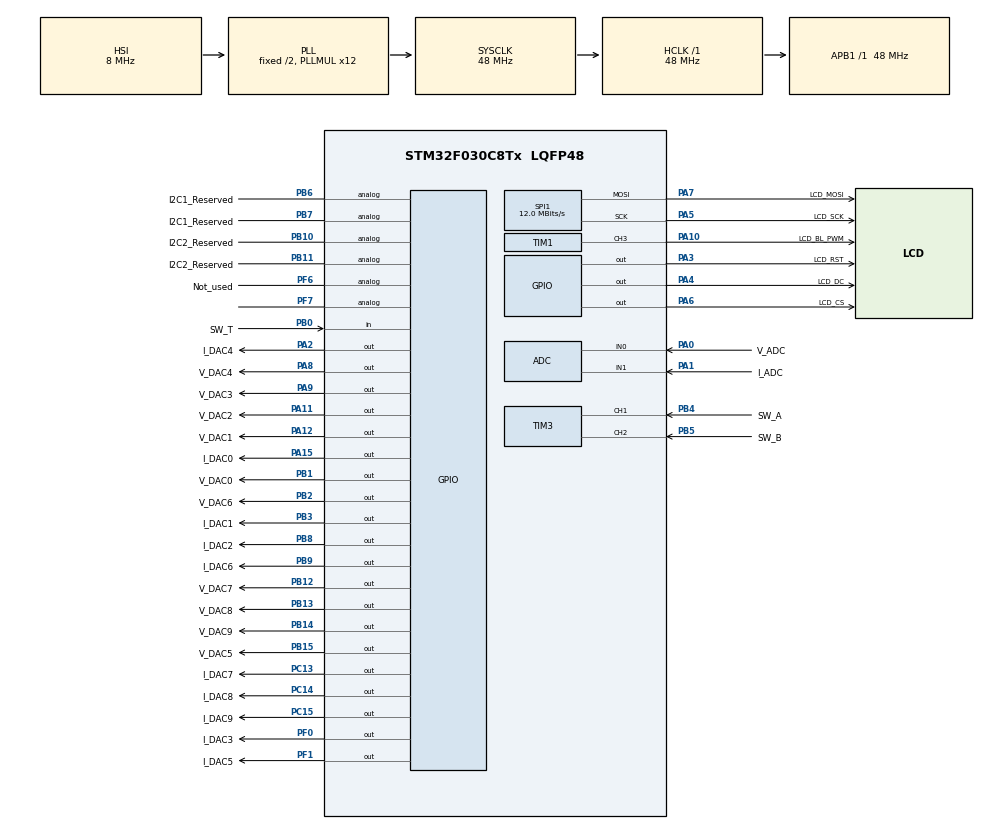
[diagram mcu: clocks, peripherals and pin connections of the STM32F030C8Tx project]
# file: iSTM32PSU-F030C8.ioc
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ADC.ClockPrescaler=ADC_CLOCK_SYNC_PCLK_DIV4
ADC.ContinuousConvMode=ENABLE
ADC.DMAContinuousRequests=ENABLE
ADC.EOCSelection=ADC_EOC_SEQ_CONV
ADC.Overrun=ADC_OVR_DATA_OVERWRITTEN
ADC.SamplingTime=ADC_SAMPLETIME_239CYCLES_5
Dma.ADC.0.Direction=DMA_PERIPH_TO_MEMORY
Dma.ADC.0.Instance=DMA1_Channel1
Dma.ADC.0.MemDataAlignment=DMA_MDATAALIGN_HALFWORD
Dma.ADC.0.MemInc=DMA_MINC_ENABLE
Dma.ADC.0.Mode=DMA_CIRCULAR
Dma.ADC.0.PeriphDataAlignment=DMA_PDATAALIGN_HALFWORD
Dma.ADC.0.PeriphInc=DMA_PINC_DISABLE
Dma.ADC.0.Priority=DMA_PRIORITY_LOW
Dma.Request0=ADC
Dma.Request1=SPI1_TX
Dma.SPI1_TX.1.Direction=DMA_MEMORY_TO_PERIPH
Dma.SPI1_TX.1.Instance=DMA1_Channel3
Dma.SPI1_TX.1.MemDataAlignment=DMA_MDATAALIGN_BYTE
Dma.SPI1_TX.1.MemInc=DMA_MINC_ENABLE
Dma.SPI1_TX.1.Mode=DMA_NORMAL
Dma.SPI1_TX.1.PeriphDataAlignment=DMA_PDATAALIGN_BYTE
Dma.SPI1_TX.1.PeriphInc=DMA_PINC_DISABLE
Dma.SPI1_TX.1.Priority=DMA_PRIORITY_LOW
Mcu.Family=STM32F0
Mcu.Name=STM32F030C8Tx
Mcu.Package=LQFP48
NVIC.ADC1_IRQn=true\:0\:0\:false\:false\:true\:true\:true\:true
NVIC.DMA1_Channel1_IRQn=true\:0\:0\:false\:false\:true\:false\:true\:true
NVIC.DMA1_Channel2_3_IRQn=true\:0\:0\:false\:false\:true\:false\:true\:true
NVIC.TIM6_IRQn=true\:0\:0\:false\:false\:true\:true\:true\:true
PA0.GPIO_Label=V_ADC
PA0.Mode=IN0
PA0.Signal=ADC_IN0
PA1.GPIO_Label=I_ADC
PA1.Mode=IN1
PA1.Signal=ADC_IN1
PA10.GPIO_Label=LCD_BL_PWM
PA10.Signal=S_TIM1_CH3
PA11.GPIO_Label=V_DAC2
PA11.Signal=GPIO_Output
PA12.GPIO_Label=V_DAC1
PA12.Signal=GPIO_Output
PA13.Mode=Serial_Wire
PA13.Signal=SYS_SWDIO
PA14.Mode=Serial_Wire
PA14.Signal=SYS_SWCLK
PA15.GPIO_Label=I_DAC0
PA15.Signal=GPIO_Output
PA2.GPIO_Label=I_DAC4
PA2.Signal=GPIO_Output
PA3.GPIO_Label=LCD_RST
PA3.Signal=GPIO_Output
PA4.GPIO_Label=LCD_DC
PA4.Signal=GPIO_Output
PA5.GPIO_Label=LCD_SCK
PA5.Mode=TX_Only_Simplex_Unidirect_Master
PA5.Signal=SPI1_SCK
PA6.GPIO_Label=LCD_CS
PA6.Signal=GPIO_Output
PA7.GPIO_Label=LCD_MOSI
PA7.Mode=TX_Only_Simplex_Unidirect_Master
PA7.Signal=SPI1_MOSI
PA8.GPIO_Label=V_DAC4
PA8.Signal=GPIO_Output
PA9.GPIO_Label=V_DAC3
PA9.Signal=GPIO_Output
PB0.GPIO_Label=SW_T
PB0.GPIO_PuPd=GPIO_PULLUP
PB0.Signal=GPIO_Input
PB1.GPIO_Label=V_DAC0
PB1.Signal=GPIO_Output
PB10.GPIO_Label=I2C2_Reserved
PB10.Signal=GPIO_Analog
PB11.GPIO_Label=I2C2_Reserved
PB11.Signal=GPIO_Analog
PB12.GPIO_Label=V_DAC7
PB12.Signal=GPIO_Output
PB13.GPIO_Label=V_DAC8
PB13.Signal=GPIO_Output
PB14.GPIO_Label=V_DAC9
PB14.Signal=GPIO_Output
PB15.GPIO_Label=V_DAC5
PB15.Signal=GPIO_Output
PB2.GPIO_Label=V_DAC6
PB2.Signal=GPIO_Output
PB3.GPIO_Label=I_DAC1
PB3.Signal=GPIO_Output
PB4.GPIO_Label=SW_A
PB4.GPIO_PuPd=GPIO_PULLUP
PB4.Signal=S_TIM3_CH1
PB5.GPIO_Label=SW_B
PB5.GPIO_PuPd=GPIO_PULLUP
PB5.Signal=S_TIM3_CH2
PB6.GPIO_Label=I2C1_Reserved
PB6.Signal=GPIO_Analog
PB7.GPIO_Label=I2C1_Reserved
PB7.Signal=GPIO_Analog
PB8.GPIO_Label=I_DAC2
PB8.Signal=GPIO_Output
PB9.GPIO_Label=I_DAC6
PB9.Signal=GPIO_Output
PC13.GPIO_Label=I_DAC7
PC13.Signal=GPIO_Output
PC14-OSC32_IN.GPIO_Label=I_DAC8
PC14-OSC32_IN.Signal=GPIO_Output
PC15-OSC32_OUT.GPIO_Label=I_DAC9
PC15-OSC32_OUT.Signal=GPIO_Output
PF0-OSC_IN.GPIO_Label=I_DAC3
PF0-OSC_IN.Signal=GPIO_Output
PF1-OSC_OUT.GPIO_Label=I_DAC5
PF1-OSC_OUT.Signal=GPIO_Output
PF6.GPIO_Label=Not_used
PF6.Signal=GPIO_Analog
PF7.Signal=GPIO_Analog
ProjectManager.HeapSize=0x200
ProjectManager.StackSize=0x400
ProjectManager.TargetToolchain=STM32CubeIDE
RCC.AHBFreq_Value=48000000
RCC.APB1Freq_Value=48000000
RCC.APB1TimFreq_Value=48000000
RCC.HCLKFreq_Value=48000000
RCC.PLLMUL=RCC_PLL_MUL12
RCC.SYSCLKFreq_VALUE=48000000
RCC.SYSCLKSource=RCC_SYSCLKSOURCE_PLLCLK
SH.S_TIM1_CH3.0=TIM1_CH3,PWM Generation3 CH3
SH.S_TIM3_CH1.0=TIM3_CH1,Encoder_Interface
SH.S_TIM3_CH2.0=TIM3_CH2,Encoder_Interface
SPI1.BaudRatePrescaler=SPI_BAUDRATEPRESCALER_4
SPI1.CalculateBaudRate=12.0 MBits/s
SPI1.DataSize=SPI_DATASIZE_8BIT
SPI1.Direction=SPI_DIRECTION_2LINES
SPI1.Mode=SPI_MODE_MASTER
SPI1.VirtualType=VM_MASTER
TIM1.Channel-PWM\ Generation3\ CH3=TIM_CHANNEL_3
TIM1.OCPolarity_3=TIM_OCPOLARITY_LOW
TIM1.Period=200
TIM1.Prescaler=24
TIM3.ClockDivision=TIM_CLOCKDIVISION_DIV1
TIM3.EncoderMode=TIM_ENCODERMODE_TI12
TIM3.IC1Filter=15
TIM3.IC1Polarity=TIM_ICPOLARITY_FALLING
TIM3.IC1Prescaler=TIM_ICPSC_DIV1
TIM3.IC2Filter=15
TIM3.IC2Polarity=TIM_ICPOLARITY_FALLING
TIM3.IC2Prescaler=TIM_ICPSC_DIV1
TIM6.Period=100
TIM6.Prescaler=47999
VP_ADC_TempSens_Input.Mode=IN-TempSens
VP_RTC_VS_RTC_Activate.Mode=RTC_Enabled
VP_RTC_VS_RTC_Calendar.Mode=RTC_Calendar
VP_TIM6_VS_ClockSourceINT.Mode=Enable_Timer
board=custom

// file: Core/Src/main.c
/* USER CODE BEGIN Header */
/**
  ******************************************************************************
  * @file           : main.c
  * @brief          : Main program body
  ******************************************************************************
  * @attention
  *
  * Copyright (c) 2022 STMicroelectronics.
  * All rights reserved.
  *
  * This software is licensed under terms that can be found in the LICENSE file
  * in the root directory of this software component.
  * If no LICENSE file comes with this software, it is provided AS-IS.
  *
  ******************************************************************************
  */
/* USER CODE END Header */
#include "main.h"

/* USER CODE BEGIN Includes */
#include "st7735.h"
#include "psu.h"
/* USER CODE END Includes */

/* USER CODE BEGIN PTD */
enum EncStates {NO_TRN, INC_TRN_SLOW, INC_TRN_NORM,INC_TRN_FAST,
						DEC_TRN_SLOW, DEC_TRN_NORM,DEC_TRN_FAST};
enum BtnStates {NO_PRESS, FIRST_EDGE, PRESS_NORM, PRESS_LONG};
enum MenuSelected {ON_OFF,MODE, MEM, BL, U, I};
enum dsMenuSelected {U_DISP,I_DISP, U_SETP, I_SETP, EXIT, SAVE_EXIT};
/* USER CODE END PTD */

/* USER CODE BEGIN PD */
#define TRN_SLOW_NORM  4   //4
#define TRN_NORM_FAST  10 //10
#define NORM_PRESS_TIME  1 // *100 in mS
#define LONG_PRESS_TIME  5 // *100 in mS
#define SCALE_U_MIN 8.0
#define SCALE_U_MAX 11.0
#define SCALE_I_MIN 0.5
#define SCALE_I_MAX 2.0
#define SCALE_U_SP_MIN 27.0
#define SCALE_U_SP_MAX 38.0
#define SCALE_I_SP_MIN 205.0
#define SCALE_I_SP_MAX 230.0
/* USER CODE END PD */

ADC_HandleTypeDef hadc;
DMA_HandleTypeDef hdma_adc;

RTC_HandleTypeDef hrtc;

SPI_HandleTypeDef hspi1;
DMA_HandleTypeDef hdma_spi1_tx;

TIM_HandleTypeDef htim1;
TIM_HandleTypeDef htim3;
TIM_HandleTypeDef htim6;

/* USER CODE BEGIN PV */
volatile uint16_t adc_RAW[3]; //0-ADC-V,1-ADC-I,2-Temp.ADC
float vdd = 3.302; //On board regulated voltage
float scaleU=9.46 , scaleI=1.43; // scaling constants for U,I~9,1/1,48
float scaleUsp=33.40, scaleIsp=218.00; //scaling const. for set points
float constU, constI; // pre-calculated constant to speed up U&I calculation
float outU, outI, temp_MCU;
char float_for_LCD[CHAR_BUFF_SIZE+1]; // +1 is used for "stop string" generation
enum EncStates enc = NO_TRN;
enum BtnStates btn = NO_PRESS;
enum MenuSelected mnu_sel = BL;
enum dsMenuSelected ds_mnu_sel = U_DISP;
int16_t enc_cnt = 0;
uint8_t btn_cnt = 0;
char* ptr; // Point to converted to char floats for LCD displaying
bool on_off = false; // disable/enable power at output 0/1
bool mod_sel_CI = false; // device is in constant voltage/constant current mode 0/1
int8_t mem_sel = 0; // selected memory set from 0 to 9
int16_t lcd_pwm_bl = 200; //max value
float uSP = 5.0; // set point for output voltage
float iSP = 1.0; // set point for output current
char onTd100 = '0', onTd10 = '0', onTd1 = '0',
	 onTh10 = '0', onTh1 = '0', onTm10 = '0', onTm1 = '0',
	 onTs10 = '0', onTs1 = '0';// On time
uint16_t uint_spU=0, uint_spI=0; // values sent to DACs
/* USER CODE END PV */

void SystemClock_Config(void);
static void MX_GPIO_Init(void);
static void MX_DMA_Init(void);
static void MX_SPI1_Init(void);
static void MX_TIM1_Init(void);
static void MX_ADC_Init(void);
static void MX_TIM3_Init(void);
static void MX_TIM6_Init(void);
static void MX_RTC_Init(void);
/* USER CODE BEGIN PFP */
void menu_handler(void);
void device_settings(void);
/* USER CODE END PFP */

int main(void)
{

  /* MCU Configuration--------------------------------------------------------*/

  /* Reset of all peripherals, Initializes the Flash interface and the Systick. */
  HAL_Init();

  /* Configure the system clock */
  SystemClock_Config();

  /* Initialize all configured peripherals */
  MX_GPIO_Init();
  MX_DMA_Init();
  MX_SPI1_Init();
  MX_TIM1_Init();
  MX_ADC_Init();
  MX_TIM3_Init();
  MX_TIM6_Init();
  MX_RTC_Init();
  /* USER CODE BEGIN 2 */
  /* Perform ADC calibration */
  if (HAL_ADCEx_Calibration_Start(&hadc) != HAL_OK)
	  	  	  	  	  	  	  	  	  	  	  	  	  Error_Handler();

  /* Start ADC group regular conversion by DMA*/
  if (HAL_ADC_Start_DMA(&hadc,(uint32_t *)adc_RAW,3) != HAL_OK)
	  	  	  	  	  	  	  	  	  	  	  	  	  Error_Handler();

  /* Start TIM3 as encoder counter */
  if (HAL_TIM_Encoder_Start(&htim3, TIM_CHANNEL_ALL) != HAL_OK)
	  	  	  	  	  	  	  	  	  	  	  	  	  Error_Handler();

  /*Run TIM6 to do 100uS interrupts for button and encoder services */
  if (HAL_TIM_Base_Start_IT(&htim6) != HAL_OK)		  Error_Handler();

  /*Start TIM1 to generate PWM output for LCD Back Light */
  if (HAL_TIM_PWM_Start(&htim1, TIM_CHANNEL_3) != HAL_OK)
	  	  	  	  	  	  	  	  	  	  	  Error_Handler();

  /* Start Back Light at max Level=200 */
  __HAL_TIM_SetCompare(&htim1, TIM_CHANNEL_3, lcd_pwm_bl);

//  LCD_Init( lcd_ScanDir ); // LCD initialization
  ST7735_Init();
  ST7735_SetRotation(1);
  if(!HAL_GPIO_ReadPin(SW_T_GPIO_Port,SW_T_Pin)) device_settings();//setup screen
  btn = PRESS_NORM;// to activate V menu on start
  draw_main_st(BLACK, WHITE); // Main static screen
  if(*( uint32_t *)(SCALE_U_ADDR) != 0xFFFFFFFF)
	  scaleU=*( float *)(SCALE_U_ADDR); // load user set scale constant
  if(*( uint32_t *)(SCALE_I_ADDR) != 0xFFFFFFFF)
	  scaleI=*( float *)(SCALE_I_ADDR); // load user set scale constant
  if(*( uint32_t *)(SCALE_U_SP_ADDR) != 0xFFFFFFFF)
	  scaleUsp=*( float *)(SCALE_U_SP_ADDR); // load user set scale constant
  if(*( uint32_t *)(SCALE_I_SP_ADDR) != 0xFFFFFFFF)
	  scaleIsp=*( float *)(SCALE_I_SP_ADDR); // load user set scale constant
  if(*( uint32_t *)(MEM_SEL_ARR_ADDR) != 0xFFFFFFFF)
	  uSP=*( float *)(MEM_SEL_ARR_ADDR); // load user set for U@M0
  if(*( uint32_t *)(MEM_SEL_ARR_ADDR+4) != 0xFFFFFFFF)
	  iSP=*( float *)(MEM_SEL_ARR_ADDR+4); // load user set for I@M0
  /*BEGIN: Draw on LCD set points taken from FLASH Memory if they are valid */

	ptr = float_to_char(uSP, float_for_LCD);
	if(uSP<1)
	{
		ST7735_DrawString(5,84," 0",Font_11x18,WHITE,BLACK);
		ST7735_DrawString(27,84,ptr,Font_11x18,WHITE,BLACK);
	}
	else
	{
		if(uSP<10)
		{
			ST7735_DrawString(5,84," ",Font_11x18,WHITE,BLACK);
			ST7735_DrawString(16,84,ptr,Font_11x18,WHITE,BLACK);
		}
		else ST7735_DrawString(5,84,ptr,Font_11x18,WHITE,BLACK);
	}
	ST7735_DrawString( 60,84,"0V",Font_11x18,WHITE,BLACK);

	ptr = float_to_char(iSP, float_for_LCD);
	if(iSP<1)
	{
		ST7735_DrawString(89,84,"0",Font_11x18,WHITE,BLACK);
		ST7735_DrawString(100,84,ptr,Font_11x18,WHITE,BLACK);
	}
	else ST7735_DrawString(89,84,ptr,Font_11x18,WHITE,BLACK);
	ST7735_DrawString(144,84,"A",Font_11x18,WHITE,BLACK);
  /*END: Draw on LCD set points taken from FLASH Memory if they are valid */
  constU = (vdd*scaleU)/4095; //calculated only once to avoid...
  constI = (vdd*scaleI)/4095; //....circular repeated calculation
  /* USER CODE END 2 */

  /* Infinite loop */
  /* USER CODE BEGIN WHILE */
  while (1)
  {
	  get_adcs(adc_RAW, &temp_MCU, &outU, &outI, constU, constI, vdd);
	  if((enc != NO_TRN)||(btn != NO_PRESS)) menu_handler();
 	  get_time(hrtc, &onTd100, &onTd10, &onTd1 , &onTh10, &onTh1, &onTm10, &onTm1,
 			  &onTs10, &onTs1, on_off);
 	  draw_main_dy(ptr, float_for_LCD, on_off, outU, outI, onTd100, onTd10, onTd1, onTh10,
			  onTh1, onTm10, onTm1, onTs10, onTs1, temp_MCU);
 	  if(temp_MCU < 85.0) //no over heating
	  {
 		  uint_spI = (uint16_t)(scaleIsp   * iSP);
 		  i_DAC10_Set(uint_spI);
 		  if(on_off) // output is POWERED
 		  {
 			uint_spU = (uint16_t)(scaleUsp * uSP);
 			v_DAC10_Set(uint_spU);

 		  }
 		  else // output is UNPOWERED
 		  {
 			 v_DAC10_Set(0);
 		  }
	  }
 	  else //over heating, output UNPOWERED
 	  {
 		  v_DAC10_Set(0);
 		  i_DAC10_Set(0);
 		  on_off = false;
 	  }
    /* USER CODE END WHILE */

  }
}

void SystemClock_Config(void)
{
  RCC_OscInitTypeDef RCC_OscInitStruct = {0};
  RCC_ClkInitTypeDef RCC_ClkInitStruct = {0};
  RCC_PeriphCLKInitTypeDef PeriphClkInit = {0};

  /** Initializes the RCC Oscillators according to the specified parameters
  * in the RCC_OscInitTypeDef structure.
  */
  RCC_OscInitStruct.OscillatorType = RCC_OSCILLATORTYPE_HSI|RCC_OSCILLATORTYPE_LSI;
  RCC_OscInitStruct.HSIState = RCC_HSI_ON;
  RCC_OscInitStruct.HSICalibrationValue = RCC_HSICALIBRATION_DEFAULT;
  RCC_OscInitStruct.LSIState = RCC_LSI_ON;
  RCC_OscInitStruct.PLL.PLLState = RCC_PLL_ON;
  RCC_OscInitStruct.PLL.PLLSource = RCC_PLLSOURCE_HSI;
  RCC_OscInitStruct.PLL.PLLMUL = RCC_PLL_MUL12;
  RCC_OscInitStruct.PLL.PREDIV = RCC_PREDIV_DIV1;
  if (HAL_RCC_OscConfig(&RCC_OscInitStruct) != HAL_OK)
  {
    Error_Handler();
  }

  /** Initializes the CPU, AHB and APB buses clocks
  */
  RCC_ClkInitStruct.ClockType = RCC_CLOCKTYPE_HCLK|RCC_CLOCKTYPE_SYSCLK
                              |RCC_CLOCKTYPE_PCLK1;
  RCC_ClkInitStruct.SYSCLKSource = RCC_SYSCLKSOURCE_PLLCLK;
  RCC_ClkInitStruct.AHBCLKDivider = RCC_SYSCLK_DIV1;
  RCC_ClkInitStruct.APB1CLKDivider = RCC_HCLK_DIV1;

  if (HAL_RCC_ClockConfig(&RCC_ClkInitStruct, FLASH_LATENCY_1) != HAL_OK)
  {
    Error_Handler();
  }
  PeriphClkInit.PeriphClockSelection = RCC_PERIPHCLK_RTC;
  PeriphClkInit.RTCClockSelection = RCC_RTCCLKSOURCE_LSI;
  if (HAL_RCCEx_PeriphCLKConfig(&PeriphClkInit) != HAL_OK)
  {
    Error_Handler();
  }
}

static void MX_ADC_Init(void)
{

  ADC_ChannelConfTypeDef sConfig = {0};

  /** Configure the global features of the ADC (Clock, Resolution, Data Alignment and number of conversion)
  */
  hadc.Instance = ADC1;
  hadc.Init.ClockPrescaler = ADC_CLOCK_SYNC_PCLK_DIV4;
  hadc.Init.Resolution = ADC_RESOLUTION_12B;
  hadc.Init.DataAlign = ADC_DATAALIGN_RIGHT;
  hadc.Init.ScanConvMode = ADC_SCAN_DIRECTION_FORWARD;
  hadc.Init.EOCSelection = ADC_EOC_SEQ_CONV;
  hadc.Init.LowPowerAutoWait = DISABLE;
  hadc.Init.LowPowerAutoPowerOff = DISABLE;
  hadc.Init.ContinuousConvMode = ENABLE;
  hadc.Init.DiscontinuousConvMode = DISABLE;
  hadc.Init.ExternalTrigConv = ADC_SOFTWARE_START;
  hadc.Init.ExternalTrigConvEdge = ADC_EXTERNALTRIGCONVEDGE_NONE;
  hadc.Init.DMAContinuousRequests = ENABLE;
  hadc.Init.Overrun = ADC_OVR_DATA_OVERWRITTEN;
  if (HAL_ADC_Init(&hadc) != HAL_OK)
  {
    Error_Handler();
  }

  /** Configure for the selected ADC regular channel to be converted.
  */
  sConfig.Channel = ADC_CHANNEL_0;
  sConfig.Rank = ADC_RANK_CHANNEL_NUMBER;
  sConfig.SamplingTime = ADC_SAMPLETIME_239CYCLES_5;
  if (HAL_ADC_ConfigChannel(&hadc, &sConfig) != HAL_OK)
  {
    Error_Handler();
  }

  /** Configure for the selected ADC regular channel to be converted.
  */
  sConfig.Channel = ADC_CHANNEL_1;
  if (HAL_ADC_ConfigChannel(&hadc, &sConfig) != HAL_OK)
  {
    Error_Handler();
  }

  /** Configure for the selected ADC regular channel to be converted.
  */
  sConfig.Channel = ADC_CHANNEL_TEMPSENSOR;
  if (HAL_ADC_ConfigChannel(&hadc, &sConfig) != HAL_OK)
  {
    Error_Handler();
  }

}

static void MX_RTC_Init(void)
{

  RTC_TimeTypeDef sTime = {0};
  RTC_DateTypeDef sDate = {0};

  /** Initialize RTC Only
  */
  hrtc.Instance = RTC;
  hrtc.Init.HourFormat = RTC_HOURFORMAT_24;
  hrtc.Init.AsynchPrediv = 127;
  hrtc.Init.SynchPrediv = 255;
  hrtc.Init.OutPut = RTC_OUTPUT_DISABLE;
  hrtc.Init.OutPutPolarity = RTC_OUTPUT_POLARITY_HIGH;
  hrtc.Init.OutPutType = RTC_OUTPUT_TYPE_OPENDRAIN;
  if (HAL_RTC_Init(&hrtc) != HAL_OK)
  {
    Error_Handler();
  }

  /** Initialize RTC and set the Time and Date
  */
  sTime.Hours = 0x0;
  sTime.Minutes = 0x0;
  sTime.Seconds = 0x0;
  sTime.DayLightSaving = RTC_DAYLIGHTSAVING_NONE;
  sTime.StoreOperation = RTC_STOREOPERATION_RESET;
  if (HAL_RTC_SetTime(&hrtc, &sTime, RTC_FORMAT_BCD) != HAL_OK)
  {
    Error_Handler();
  }
  sDate.WeekDay = RTC_WEEKDAY_MONDAY;
  sDate.Month = RTC_MONTH_JANUARY;
  sDate.Date = 0x1;
  sDate.Year = 0x0;

  if (HAL_RTC_SetDate(&hrtc, &sDate, RTC_FORMAT_BCD) != HAL_OK)
  {
    Error_Handler();
  }

}

static void MX_SPI1_Init(void)
{

  /* SPI1 parameter configuration*/
  hspi1.Instance = SPI1;
  hspi1.Init.Mode = SPI_MODE_MASTER;
  hspi1.Init.Direction = SPI_DIRECTION_2LINES;
  hspi1.Init.DataSize = SPI_DATASIZE_8BIT;
  hspi1.Init.CLKPolarity = SPI_POLARITY_LOW;
  hspi1.Init.CLKPhase = SPI_PHASE_1EDGE;
  hspi1.Init.NSS = SPI_NSS_SOFT;
  hspi1.Init.BaudRatePrescaler = SPI_BAUDRATEPRESCALER_4;
  hspi1.Init.FirstBit = SPI_FIRSTBIT_MSB;
  hspi1.Init.TIMode = SPI_TIMODE_DISABLE;
  hspi1.Init.CRCCalculation = SPI_CRCCALCULATION_DISABLE;
  hspi1.Init.CRCPolynomial = 7;
  hspi1.Init.CRCLength = SPI_CRC_LENGTH_DATASIZE;
  hspi1.Init.NSSPMode = SPI_NSS_PULSE_ENABLE;
  if (HAL_SPI_Init(&hspi1) != HAL_OK)
  {
    Error_Handler();
  }

}

static void MX_TIM1_Init(void)
{

  TIM_MasterConfigTypeDef sMasterConfig = {0};
  TIM_OC_InitTypeDef sConfigOC = {0};
  TIM_BreakDeadTimeConfigTypeDef sBreakDeadTimeConfig = {0};

  htim1.Instance = TIM1;
  htim1.Init.Prescaler = 24;
  htim1.Init.CounterMode = TIM_COUNTERMODE_UP;
  htim1.Init.Period = 200;
  htim1.Init.ClockDivision = TIM_CLOCKDIVISION_DIV1;
  htim1.Init.RepetitionCounter = 0;
  htim1.Init.AutoReloadPreload = TIM_AUTORELOAD_PRELOAD_DISABLE;
  if (HAL_TIM_PWM_Init(&htim1) != HAL_OK)
  {
    Error_Handler();
  }
  sMasterConfig.MasterOutputTrigger = TIM_TRGO_RESET;
  sMasterConfig.MasterSlaveMode = TIM_MASTERSLAVEMODE_DISABLE;
  if (HAL_TIMEx_MasterConfigSynchronization(&htim1, &sMasterConfig) != HAL_OK)
  {
    Error_Handler();
  }
  sConfigOC.OCMode = TIM_OCMODE_PWM1;
  sConfigOC.Pulse = 0;
  sConfigOC.OCPolarity = TIM_OCPOLARITY_LOW;
  sConfigOC.OCNPolarity = TIM_OCNPOLARITY_HIGH;
  sConfigOC.OCFastMode = TIM_OCFAST_DISABLE;
  sConfigOC.OCIdleState = TIM_OCIDLESTATE_RESET;
  sConfigOC.OCNIdleState = TIM_OCNIDLESTATE_RESET;
  if (HAL_TIM_PWM_ConfigChannel(&htim1, &sConfigOC, TIM_CHANNEL_3) != HAL_OK)
  {
    Error_Handler();
  }
  sBreakDeadTimeConfig.OffStateRunMode = TIM_OSSR_DISABLE;
  sBreakDeadTimeConfig.OffStateIDLEMode = TIM_OSSI_DISABLE;
  sBreakDeadTimeConfig.LockLevel = TIM_LOCKLEVEL_OFF;
  sBreakDeadTimeConfig.DeadTime = 0;
  sBreakDeadTimeConfig.BreakState = TIM_BREAK_DISABLE;
  sBreakDeadTimeConfig.BreakPolarity = TIM_BREAKPOLARITY_HIGH;
  sBreakDeadTimeConfig.AutomaticOutput = TIM_AUTOMATICOUTPUT_DISABLE;
  if (HAL_TIMEx_ConfigBreakDeadTime(&htim1, &sBreakDeadTimeConfig) != HAL_OK)
  {
    Error_Handler();
  }
  HAL_TIM_MspPostInit(&htim1);

}

static void MX_TIM3_Init(void)
{

  TIM_Encoder_InitTypeDef sConfig = {0};
  TIM_MasterConfigTypeDef sMasterConfig = {0};

  htim3.Instance = TIM3;
  htim3.Init.Prescaler = 0;
  htim3.Init.CounterMode = TIM_COUNTERMODE_UP;
  htim3.Init.Period = 65535;
  htim3.Init.ClockDivision = TIM_CLOCKDIVISION_DIV1;
  htim3.Init.AutoReloadPreload = TIM_AUTORELOAD_PRELOAD_DISABLE;
  sConfig.EncoderMode = TIM_ENCODERMODE_TI12;
  sConfig.IC1Polarity = TIM_ICPOLARITY_FALLING;
  sConfig.IC1Selection = TIM_ICSELECTION_DIRECTTI;
  sConfig.IC1Prescaler = TIM_ICPSC_DIV1;
  sConfig.IC1Filter = 15;
  sConfig.IC2Polarity = TIM_ICPOLARITY_FALLING;
  sConfig.IC2Selection = TIM_ICSELECTION_DIRECTTI;
  sConfig.IC2Prescaler = TIM_ICPSC_DIV1;
  sConfig.IC2Filter = 15;
  if (HAL_TIM_Encoder_Init(&htim3, &sConfig) != HAL_OK)
  {
    Error_Handler();
  }
  sMasterConfig.MasterOutputTrigger = TIM_TRGO_RESET;
  sMasterConfig.MasterSlaveMode = TIM_MASTERSLAVEMODE_DISABLE;
  if (HAL_TIMEx_MasterConfigSynchronization(&htim3, &sMasterConfig) != HAL_OK)
  {
    Error_Handler();
  }

}

static void MX_TIM6_Init(void)
{

  htim6.Instance = TIM6;
  htim6.Init.Prescaler = 47999;
  htim6.Init.CounterMode = TIM_COUNTERMODE_UP;
  htim6.Init.Period = 100;
  htim6.Init.AutoReloadPreload = TIM_AUTORELOAD_PRELOAD_DISABLE;
  if (HAL_TIM_Base_Init(&htim6) != HAL_OK)
  {
    Error_Handler();
  }

}

static void MX_DMA_Init(void)
{

  /* DMA controller clock enable */
  __HAL_RCC_DMA1_CLK_ENABLE();

  /* DMA interrupt init */
  /* DMA1_Channel1_IRQn interrupt configuration */
  HAL_NVIC_SetPriority(DMA1_Channel1_IRQn, 0, 0);
  HAL_NVIC_EnableIRQ(DMA1_Channel1_IRQn);
  /* DMA1_Channel2_3_IRQn interrupt configuration */
  HAL_NVIC_SetPriority(DMA1_Channel2_3_IRQn, 0, 0);
  HAL_NVIC_EnableIRQ(DMA1_Channel2_3_IRQn);

}

static void MX_GPIO_Init(void)
{
  GPIO_InitTypeDef GPIO_InitStruct = {0};

  /* GPIO Ports Clock Enable */
  __HAL_RCC_GPIOC_CLK_ENABLE();
  __HAL_RCC_GPIOF_CLK_ENABLE();
  __HAL_RCC_GPIOA_CLK_ENABLE();
  __HAL_RCC_GPIOB_CLK_ENABLE();

  /*Configure GPIO pin Output Level */
  HAL_GPIO_WritePin(GPIOC, I_DAC7_Pin|I_DAC8_Pin|I_DAC9_Pin, GPIO_PIN_RESET);

  /*Configure GPIO pin Output Level */
  HAL_GPIO_WritePin(GPIOF, I_DAC3_Pin|I_DAC5_Pin, GPIO_PIN_RESET);

  /*Configure GPIO pin Output Level */
  HAL_GPIO_WritePin(GPIOA, I_DAC4_Pin|LCD_RST_Pin|LCD_DC_Pin|LCD_CS_Pin
                          |V_DAC4_Pin|V_DAC3_Pin|V_DAC2_Pin|V_DAC1_Pin
                          |I_DAC0_Pin, GPIO_PIN_RESET);

  /*Configure GPIO pin Output Level */
  HAL_GPIO_WritePin(GPIOB, V_DAC0_Pin|V_DAC6_Pin|V_DAC7_Pin|V_DAC8_Pin
                          |V_DAC9_Pin|V_DAC5_Pin|I_DAC1_Pin|I_DAC2_Pin
                          |I_DAC6_Pin, GPIO_PIN_RESET);

  /*Configure GPIO pins : I_DAC7_Pin I_DAC8_Pin I_DAC9_Pin */
  GPIO_InitStruct.Pin = I_DAC7_Pin|I_DAC8_Pin|I_DAC9_Pin;
  GPIO_InitStruct.Mode = GPIO_MODE_OUTPUT_PP;
  GPIO_InitStruct.Pull = GPIO_NOPULL;
  GPIO_InitStruct.Speed = GPIO_SPEED_FREQ_LOW;
  HAL_GPIO_Init(GPIOC, &GPIO_InitStruct);

  /*Configure GPIO pins : I_DAC3_Pin I_DAC5_Pin */
  GPIO_InitStruct.Pin = I_DAC3_Pin|I_DAC5_Pin;
  GPIO_InitStruct.Mode = GPIO_MODE_OUTPUT_PP;
  GPIO_InitStruct.Pull = GPIO_NOPULL;
  GPIO_InitStruct.Speed = GPIO_SPEED_FREQ_LOW;
  HAL_GPIO_Init(GPIOF, &GPIO_InitStruct);

  /*Configure GPIO pins : I_DAC4_Pin LCD_RST_Pin LCD_DC_Pin LCD_CS_Pin
                           V_DAC4_Pin V_DAC3_Pin V_DAC2_Pin V_DAC1_Pin
                           I_DAC0_Pin */
  GPIO_InitStruct.Pin = I_DAC4_Pin|LCD_RST_Pin|LCD_DC_Pin|LCD_CS_Pin
                          |V_DAC4_Pin|V_DAC3_Pin|V_DAC2_Pin|V_DAC1_Pin
                          |I_DAC0_Pin;
  GPIO_InitStruct.Mode = GPIO_MODE_OUTPUT_PP;
  GPIO_InitStruct.Pull = GPIO_NOPULL;
  GPIO_InitStruct.Speed = GPIO_SPEED_FREQ_LOW;
  HAL_GPIO_Init(GPIOA, &GPIO_InitStruct);

  /*Configure GPIO pin : SW_T_Pin */
  GPIO_InitStruct.Pin = SW_T_Pin;
  GPIO_InitStruct.Mode = GPIO_MODE_INPUT;
  GPIO_InitStruct.Pull = GPIO_PULLUP;
  HAL_GPIO_Init(SW_T_GPIO_Port, &GPIO_InitStruct);

  /*Configure GPIO pins : V_DAC0_Pin V_DAC6_Pin V_DAC7_Pin V_DAC8_Pin
                           V_DAC9_Pin V_DAC5_Pin I_DAC1_Pin I_DAC2_Pin
                           I_DAC6_Pin */
  GPIO_InitStruct.Pin = V_DAC0_Pin|V_DAC6_Pin|V_DAC7_Pin|V_DAC8_Pin
                          |V_DAC9_Pin|V_DAC5_Pin|I_DAC1_Pin|I_DAC2_Pin
                          |I_DAC6_Pin;
  GPIO_InitStruct.Mode = GPIO_MODE_OUTPUT_PP;
  GPIO_InitStruct.Pull = GPIO_NOPULL;
  GPIO_InitStruct.Speed = GPIO_SPEED_FREQ_LOW;
  HAL_GPIO_Init(GPIOB, &GPIO_InitStruct);

  /*Configure GPIO pins : I2C2_Reserved_Pin I2C2_ReservedB11_Pin I2C1_Reserved_Pin I2C1_ReservedB7_Pin */
  GPIO_InitStruct.Pin = I2C2_Reserved_Pin|I2C2_ReservedB11_Pin|I2C1_Reserved_Pin|I2C1_ReservedB7_Pin;
  GPIO_InitStruct.Mode = GPIO_MODE_ANALOG;
  GPIO_InitStruct.Pull = GPIO_NOPULL;
  HAL_GPIO_Init(GPIOB, &GPIO_InitStruct);

  /*Configure GPIO pins : Not_used_Pin PF7 */
  GPIO_InitStruct.Pin = Not_used_Pin|GPIO_PIN_7;
  GPIO_InitStruct.Mode = GPIO_MODE_ANALOG;
  GPIO_InitStruct.Pull = GPIO_NOPULL;
  HAL_GPIO_Init(GPIOF, &GPIO_InitStruct);

}

/* USER CODE BEGIN 4 */
void HAL_TIM_PeriodElapsedCallback(TIM_HandleTypeDef *htim) //every 100mS
{
    if (htim->Instance==TIM6) //check if the interrupt comes from TIM6
        {
    		enc_cnt = TIM3->CNT; TIM3->CNT = 0;
    		if (enc_cnt >0)
    		{
    			if(enc_cnt <= TRN_SLOW_NORM) enc = INC_TRN_SLOW;
    			else enc = INC_TRN_NORM;
    			if(enc_cnt > TRN_NORM_FAST) enc = INC_TRN_FAST;
    		}
    		if (enc_cnt < 0)
    		{
    			if(enc_cnt >= (-TRN_SLOW_NORM)) enc = DEC_TRN_SLOW;
    			else enc = DEC_TRN_NORM;
    			if(enc_cnt < (-TRN_NORM_FAST)) enc = DEC_TRN_FAST;
    		}

    		if (!HAL_GPIO_ReadPin(SW_T_GPIO_Port,SW_T_Pin)) // Button is pressed
    		{
    			if(btn == NO_PRESS)
    				{
    					btn = FIRST_EDGE;
    					btn_cnt =0;
    				}
    			else ++btn_cnt;
    		}
    		else // Button is released
    		{
    			if (btn == FIRST_EDGE)
    			{
    				if(btn_cnt < 5) btn = PRESS_NORM; // less than 500mS press
    				else btn = PRESS_LONG;
    			}
    		}
        }
}

void menu_handler(void)
{
	if(enc != NO_TRN)
	{
		switch(mnu_sel)
		{
		case ON_OFF:
		{
			if(enc == INC_TRN_SLOW)
			{
				ST7735_DrawString(124,2," ON",Font_11x18,WHITE,GREEN);
				on_off = 1;
			}
			if(enc == DEC_TRN_SLOW)
			{
				ST7735_DrawString(124,2,"OFF",Font_11x18,WHITE,RED);
				on_off = 0;
			}
			break;
		}
		case MODE:
		{
			if(enc == INC_TRN_SLOW)
			{
				ST7735_DrawString(124,21," CV",Font_11x18,BLACK,GBLUE);
				mod_sel_CI = false;
			}
			if(enc == DEC_TRN_SLOW)
			{
				ST7735_DrawString(124,21," CI",Font_11x18,BLACK,BRRED);
				mod_sel_CI = true ;
			}
			break;
		}
		case MEM:
		{
			HAL_Delay(200);
			if(enc == INC_TRN_SLOW)
			{
				mem_sel=mem_sel+1;
				if (mem_sel > 9) mem_sel=9;
			}
			if(enc == DEC_TRN_SLOW)
			{
				mem_sel=mem_sel-1;
				if (mem_sel < 0) mem_sel=0;
			}
			float_for_LCD[0]=0x30+mem_sel;
			float_for_LCD[1]=0;
			ST7735_DrawString(124,40," M",Font_11x18,BLACK,GRAY);
			ST7735_DrawString(146 ,40,float_for_LCD,Font_11x18,BLACK,GRAY);
			break;
		}
		case BL:
		{
			if(enc == INC_TRN_SLOW) lcd_pwm_bl = lcd_pwm_bl+1;
			if(enc == INC_TRN_NORM) lcd_pwm_bl = lcd_pwm_bl+10;
			if(enc == INC_TRN_FAST) lcd_pwm_bl = lcd_pwm_bl+50;
			if(enc == DEC_TRN_SLOW) lcd_pwm_bl = lcd_pwm_bl-1;
			if(enc == DEC_TRN_NORM) lcd_pwm_bl = lcd_pwm_bl-10;
			if(enc == DEC_TRN_FAST) lcd_pwm_bl = lcd_pwm_bl-50;
			if (lcd_pwm_bl < 0) lcd_pwm_bl = 0;
			if (lcd_pwm_bl > 200) lcd_pwm_bl = 200;
			__HAL_TIM_SetCompare(&htim1, TIM_CHANNEL_3, lcd_pwm_bl);
			if (lcd_pwm_bl != 200)
				ST7735_DrawString(124,59,"LGT",Font_11x18,WHITE,MAGENTA);
			else
				ST7735_DrawString(124,59,"MAX",Font_11x18,WHITE,MAGENTA);
			break;
		}
		case U:
		{
			if(enc == INC_TRN_SLOW) uSP=uSP+0.01; //0.03
			if(enc == INC_TRN_NORM) uSP=uSP+0.3;
			if(enc == INC_TRN_FAST) uSP=uSP+3;
			if(enc == DEC_TRN_SLOW) uSP=uSP-0.01; //0.03
			if(enc == DEC_TRN_NORM) uSP=uSP-0.3;
			if(enc == DEC_TRN_FAST) uSP=uSP-3;
			if(uSP>30) uSP=30; // no more 30V
			if(uSP<0) uSP=0; // no less 0V
			ptr = float_to_char(uSP, float_for_LCD);
			if(uSP<1)
			{
				ST7735_DrawString(5,84," 0",Font_11x18,WHITE,BLACK);
				ST7735_DrawString(27,84,ptr,Font_11x18,WHITE,BLACK);
			}
			else
			{
				if(uSP<10)
				{
					ST7735_DrawString(5,84," ",Font_11x18,WHITE,BLACK);
					ST7735_DrawString(16,84,ptr,Font_11x18,WHITE,BLACK);
				}
				else ST7735_DrawString(5,84,ptr,Font_11x18,WHITE,BLACK);
			}
			ST7735_DrawString( 60,84,"0V",Font_11x18,WHITE,BLACK);
			break;
		}
		case I:
		{
			if(enc == INC_TRN_SLOW) iSP=iSP+0.001; //0.005
			if(enc == INC_TRN_NORM) iSP=iSP+0.05;
			if(enc == INC_TRN_FAST) iSP=iSP+0.5;
			if(enc == DEC_TRN_SLOW) iSP=iSP-0.001; //0.005
			if(enc == DEC_TRN_NORM) iSP=iSP-0.05;
			if(enc == DEC_TRN_FAST) iSP=iSP-0.5;
			if(iSP>4.6) iSP=4.6; //no more 4.6A
			if(iSP<0) iSP=0; // no less 0A
			ptr = float_to_char(iSP, float_for_LCD);
			if(iSP<1)
			{
				ST7735_DrawString(89,84,"0",Font_11x18,WHITE,BLACK);
				ST7735_DrawString(100,84,ptr,Font_11x18,WHITE,BLACK);
			}
			else ST7735_DrawString(89,84,ptr,Font_11x18,WHITE,BLACK);
			ST7735_DrawString(144,84,"A",Font_11x18,WHITE,BLACK);
			break;
		}
		}
		enc=NO_TRN;
	}

	if(btn != (NO_PRESS || FIRST_EDGE))
	{
		if(btn == PRESS_NORM)
		{
			switch(mnu_sel)
			{
			case ON_OFF: //Power on, off
			{
				ST7735_DrawRect
					(123, 1, 35, 20, BLACK);
				ST7735_DrawRect
					(123,20, 35, 20, WHITE);
				mnu_sel = MODE;
				break;
			}
			case MODE:  //Master or slave in future I hope
			{
				ST7735_DrawRect
					(123,20, 35, 20, BLACK);
				ST7735_DrawRect
					(123,39, 35, 20, WHITE);
				mnu_sel = MEM;
				break;
			}
			case MEM: //Memory settings
			{
				ST7735_DrawRect
					(123,39, 35, 20, BLACK);
				ST7735_DrawRect
					(123,58, 35, 20, WHITE);
				mnu_sel = BL;
				break;
			}
			case BL: //Back Light setup
			{
				ST7735_DrawRect
					(123,58, 35, 20, BLACK);
				ST7735_DrawRect
					(4,83, 79, 20, WHITE);
				mnu_sel = U;
				break;
			}
			case U: //Voltage set point
			{
				ST7735_DrawRect
					(4,83, 79, 20, BLACK);
				ST7735_DrawRect
					(87,83, 69, 20, WHITE);
				mnu_sel = I;
				break;
			}
			case I: //Current set point
			{
				ST7735_DrawRect
					(87,83, 69, 20, BLACK);
				ST7735_DrawRect
					(123, 1, 35, 20, WHITE);
				mnu_sel = ON_OFF;
				break;
			}
			}
		}
		if(btn == PRESS_LONG)
		{
			if(mnu_sel != MEM)
			{
				if(on_off)
				{
					ST7735_DrawString(124,2,"OFF",Font_11x18,WHITE,RED);
					on_off = false;
				}
				else
				{
					ST7735_DrawString(124,2," ON",Font_11x18,WHITE,GREEN);
					on_off = true;
				}
			}
			else // process memory pre-seting selection
			{
				if(on_off) //write SP as M to FLASH
				{
					save_settings(scaleU, scaleI, scaleUsp, scaleIsp, mem_sel, uSP, iSP);
				}
				else //get M values from FLASH
				{
					if(*( uint32_t *)(MEM_SEL_ARR_ADDR+(8*mem_sel)) != 0xFFFFFFFF)
						uSP=*( float *)(MEM_SEL_ARR_ADDR+(8*mem_sel));
					ptr = float_to_char(uSP, float_for_LCD);
					if(uSP<1)
					{
						ST7735_DrawString(5,84," 0",Font_11x18,WHITE,BLACK);
						ST7735_DrawString(27,84,ptr,Font_11x18,WHITE,BLACK);
					}
					else
					{
						if(uSP<10)
						{
							ST7735_DrawString(5,84," ",Font_11x18,WHITE,BLACK);
							ST7735_DrawString(16,84,ptr,Font_11x18,WHITE,BLACK);
						}
						else ST7735_DrawString(5,84,ptr,Font_11x18,WHITE,BLACK);
					}
					ST7735_DrawString( 60,84,"0V",Font_11x18,WHITE,BLACK);

					if(*( uint32_t *)(MEM_SEL_ARR_ADDR+(8*mem_sel)+4) != 0xFFFFFFFF)
						iSP=*( float *)(MEM_SEL_ARR_ADDR+(8*mem_sel)+4);
					ptr = float_to_char(iSP, float_for_LCD);
					if(iSP<1)
					{
						ST7735_DrawString(89,84,"0",Font_11x18,WHITE,BLACK);
						ST7735_DrawString(100,84,ptr,Font_11x18,WHITE,BLACK);
					}
					else ST7735_DrawString(89,84,ptr,Font_11x18,WHITE,BLACK);
					ST7735_DrawString(144,84,"A",Font_11x18,WHITE,BLACK);
				}
			}
		}
		btn=NO_PRESS;
	}
}

void device_settings(void)
{
	while(!HAL_GPIO_ReadPin(SW_T_GPIO_Port,SW_T_Pin)); // wait Button is released
    HAL_Delay(200);
	btn=NO_PRESS;
	ST7735_FillScreen(BLACK);

	float scaleU_tmp = scaleU, scaleI_tmp = scaleI,
		scaleUsp_tmp = scaleUsp, scaleIsp_tmp = scaleIsp;

	ST7735_DrawString(1,2,"C>Udsp:",Font_11x18,WHITE, BLACK);
	ptr = float_to_char(scaleU, float_for_LCD);
	ST7735_DrawString(81,2,ptr,Font_11x18,WHITE, BLACK);

	ST7735_DrawString(1,22,"C>Idsp:",Font_11x18,WHITE, BLACK);
	ptr = float_to_char(scaleI, float_for_LCD);
	ST7735_DrawString(81,22,ptr,Font_11x18,WHITE, BLACK);

	ST7735_DrawString(1,42,"C>Ustp:",Font_11x18,WHITE, BLACK);
	ptr = float_to_char(scaleUsp, float_for_LCD);
	ST7735_DrawString(81,42,ptr,Font_11x18,WHITE, BLACK);

	ST7735_DrawString(1,62,"C>Istp:",Font_11x18,WHITE, BLACK);
	ptr = float_to_char(scaleIsp, float_for_LCD);
	ST7735_DrawString(81,62,ptr,Font_11x18,WHITE, BLACK);

	ST7735_DrawString(3,107,"EXIT SAVE&EXIT",Font_11x18,WHITE, BLACK);

	ST7735_DrawRect(79, 0, 80, 21, WHITE);

	while ((btn != PRESS_LONG) || ((ds_mnu_sel != EXIT)&&(ds_mnu_sel != SAVE_EXIT)))
	{
		if(btn == PRESS_NORM)
		{
			 switch(ds_mnu_sel)
			{
			case U_DISP:
			{
				ST7735_DrawRect(79, 0, 80, 21, BLACK);
				ST7735_DrawRect(79, 20, 80, 21, WHITE);
				ds_mnu_sel = I_DISP;
				break;
			}
			case I_DISP:
			{
				ST7735_DrawRect(79, 20, 80, 21, BLACK);
				ST7735_DrawRect(79, 40, 80, 21, WHITE);
				ds_mnu_sel = U_SETP;
				break;
			}
			case U_SETP:
			{
				ST7735_DrawRect(79, 40, 80, 21, BLACK);
				ST7735_DrawRect(79, 60, 80, 21, WHITE);
				ds_mnu_sel = I_SETP;
				break;
			}
			case I_SETP:
			{
				ST7735_DrawRect(79, 60, 80, 21, BLACK);
				ST7735_DrawRect(1, 105, 49, 21, WHITE);
				ds_mnu_sel = EXIT;
				break;
			}
			case EXIT:
			{
				ST7735_DrawRect(1, 105, 49, 21, BLACK);
				ST7735_DrawRect(55, 105, 105 , 21, WHITE);
				ds_mnu_sel = SAVE_EXIT;
				break;
			}
			case SAVE_EXIT:
			{
				ST7735_DrawRect(55, 105, 105 , 21, BLACK);
				ST7735_DrawRect(79, 0, 80, 21, WHITE);
				ds_mnu_sel = U_DISP;
				break;
			}
			}
			btn=NO_PRESS;
		}
		if((btn == PRESS_LONG)&&
				((ds_mnu_sel == U_DISP)||(ds_mnu_sel == I_DISP)||
						(ds_mnu_sel == U_SETP)||(ds_mnu_sel == I_SETP)))
																btn=NO_PRESS;
		if(enc != NO_TRN)
		{
			float_for_LCD[CHAR_BUFF_SIZE]= 0;//hard stop of converted string
			if(ds_mnu_sel == U_DISP)
			{
				if(enc == INC_TRN_SLOW) scaleU = scaleU+0.001;
				if((enc == INC_TRN_NORM)||(enc == INC_TRN_NORM)) scaleU = scaleU+0.1;
				if(enc == DEC_TRN_SLOW) scaleU = scaleU-0.001;
				if((enc == DEC_TRN_NORM)||(enc == DEC_TRN_NORM)) scaleU = scaleU-0.1;
				if (scaleU > SCALE_U_MAX) scaleU = SCALE_U_MAX;
				if (scaleU < SCALE_U_MIN) scaleU = SCALE_U_MIN;
				ptr = float_to_char(scaleU, float_for_LCD);
				ST7735_DrawString(81,2,ptr,Font_11x18,WHITE, BLACK);
				if (scaleU < 10.0)
					ST7735_DrawString(136,2," ",Font_11x18,WHITE, BLACK);

			}
			if(ds_mnu_sel == I_DISP)
			{
				if(enc == INC_TRN_SLOW) scaleI = scaleI+0.001;
				if((enc == INC_TRN_NORM)||(enc == INC_TRN_NORM)) scaleI = scaleI+0.1;
				if(enc == DEC_TRN_SLOW) scaleI = scaleI-0.001;
				if((enc == DEC_TRN_NORM)||(enc == DEC_TRN_NORM)) scaleI = scaleI-0.1;
				if (scaleI > SCALE_I_MAX) scaleI = SCALE_I_MAX;
				if (scaleI < SCALE_I_MIN) scaleI = SCALE_I_MIN;
				ptr = float_to_char(scaleI, float_for_LCD);
				if (scaleI < 1.0)
				{
					ptr--;
					*ptr = '0';
				}
				ST7735_DrawString(81,22,ptr,Font_11x18,WHITE, BLACK);
			}
			if(ds_mnu_sel == U_SETP)
			{
				if(enc == INC_TRN_SLOW) scaleUsp = scaleUsp+0.001;
				if((enc == INC_TRN_NORM)||(enc == INC_TRN_NORM)) scaleUsp = scaleUsp+0.1;
				if(enc == DEC_TRN_SLOW) scaleUsp = scaleUsp-0.001;
				if((enc == DEC_TRN_NORM)||(enc == DEC_TRN_NORM)) scaleUsp = scaleUsp-0.1;
				if (scaleUsp > SCALE_U_SP_MAX) scaleUsp = SCALE_U_SP_MAX;
				if (scaleUsp < SCALE_U_SP_MIN) scaleUsp = SCALE_U_SP_MIN;
				ptr = float_to_char(scaleUsp, float_for_LCD);
				ST7735_DrawString(81,42,ptr,Font_11x18,WHITE, BLACK);
			}
			if(ds_mnu_sel == I_SETP)
			{
				if(enc == INC_TRN_SLOW) scaleIsp = scaleIsp+0.001;
				if((enc == INC_TRN_NORM)||(enc == INC_TRN_NORM)) scaleIsp = scaleIsp+0.1;
				if(enc == DEC_TRN_SLOW) scaleIsp = scaleIsp-0.001;
				if((enc == DEC_TRN_NORM)||(enc == DEC_TRN_NORM)) scaleIsp = scaleIsp-0.1;
				if (scaleIsp > SCALE_I_SP_MAX) scaleIsp = SCALE_I_SP_MAX;
				if (scaleIsp < SCALE_I_SP_MIN) scaleIsp = SCALE_I_SP_MIN;
				ptr = float_to_char(scaleIsp, float_for_LCD);
				ST7735_DrawString(81,62,ptr,Font_11x18,WHITE, BLACK);
			}
			enc=NO_TRN;
		}
	}
	if (ds_mnu_sel == SAVE_EXIT)
		save_settings(scaleU, scaleI, scaleUsp, scaleIsp, 10,0,0);
	else
	{
		scaleU = scaleU_tmp; scaleI = scaleI_tmp;
		scaleUsp = scaleUsp_tmp; scaleIsp = scaleIsp_tmp;
	}
	enc=NO_TRN;
	btn=NO_PRESS;
}

/* USER CODE END 4 */

void Error_Handler(void)
{
  __disable_irq();
  while (1)
  {
  }
}
